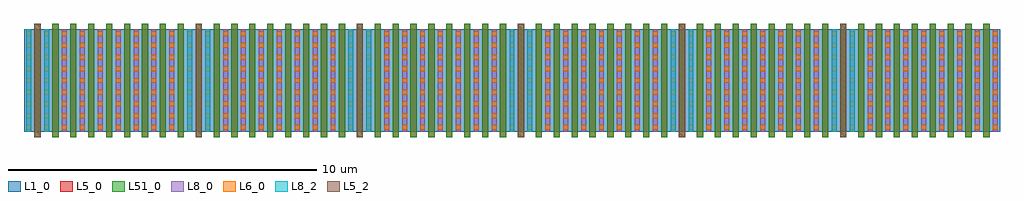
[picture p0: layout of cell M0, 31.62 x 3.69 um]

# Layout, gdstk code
import gdstk
lib = gdstk.Library(unit=1e-6, precision=1e-09)
def R(c, l, rs):  # rectangles x0, y0, x1, y1
    for r in rs: c.add(gdstk.rectangle(r[:2], r[2:], *l))
def A(c, l, x, y, w, h, nx, ny, dx, dy):  # array of equal rectangles
    R(c, l, [(x+i*dx, y+j*dy, x+i*dx+w, y+j*dy+h) for i in range(nx) for j in range(ny)])
L1_0 = (1, 0)
L5_0 = (5, 0)
L5_2 = (5, 2)
L6_0 = (6, 0)
L8_0 = (8, 0)
L8_2 = (8, 2)
L51_0 = (51, 0)

nmos_5 = lib.new_cell('nmos$5')
A(nmos_5, L1_0, 0, 0, 0.3, 0.3, 10, 1, 0.58, 0)
R(nmos_5, L1_0, [(0,0,5.52,3.33)])
A(nmos_5, L5_0, 0.34, -0.18, 0.2, 3.69, 9, 1, 0.58, 0)
R(nmos_5, L5_2, [(0.34,-0.18,0.54,3.51)])
A(nmos_5, L6_0, 0.07, 0.07, 0.16, 0.16, 10, 2, 0.58, 0.375)
A(nmos_5, L6_0, 0.07, 0.825, 0.16, 0.16, 10, 3, 0.58, 0.38)
A(nmos_5, L6_0, 0.07, 1.96, 0.16, 0.16, 10, 4, 0.58, 0.38)
A(nmos_5, L8_0, 0.07, 0, 0.16, 3.33, 10, 1, 0.58, 0)
R(nmos_5, L8_2, [(0.07,0,0.23,3.33), (0.65,0,0.81,3.33)])
A(nmos_5, L51_0, 0.34, -0.18, 0.2, 3.69, 9, 1, 0.58, 0)
nmos_5.add(gdstk.Label('nmos', (0.44,1.665), layer=63, texttype=0))
nmos_5.add(gdstk.Label('nmos', (0.44,1.665), layer=51, texttype=0))
nmos_5.add(gdstk.Label('nmos', (1.02,1.665), layer=51, texttype=0))
nmos_5.add(gdstk.Label('nmos', (1.6,1.665), layer=51, texttype=0))
nmos_5.add(gdstk.Label('nmos', (2.18,1.665), layer=51, texttype=0))
nmos_5.add(gdstk.Label('nmos', (2.76,1.665), layer=51, texttype=0))
nmos_5.add(gdstk.Label('nmos', (3.34,1.665), layer=51, texttype=0))
nmos_5.add(gdstk.Label('nmos', (3.92,1.665), layer=51, texttype=0))
nmos_5.add(gdstk.Label('nmos', (4.5,1.665), layer=51, texttype=0))
nmos_5.add(gdstk.Label('nmos', (5.08,1.665), layer=51, texttype=0))

c_m0 = lib.new_cell('M0')
r = gdstk.Reference(nmos_5, (-0.44,-0.155)); r.repetition = gdstk.Repetition(6, 1, v1=(5.22,0), v2=(0,0)); c_m0.add(r)

lib.write_gds('M0.gds')
